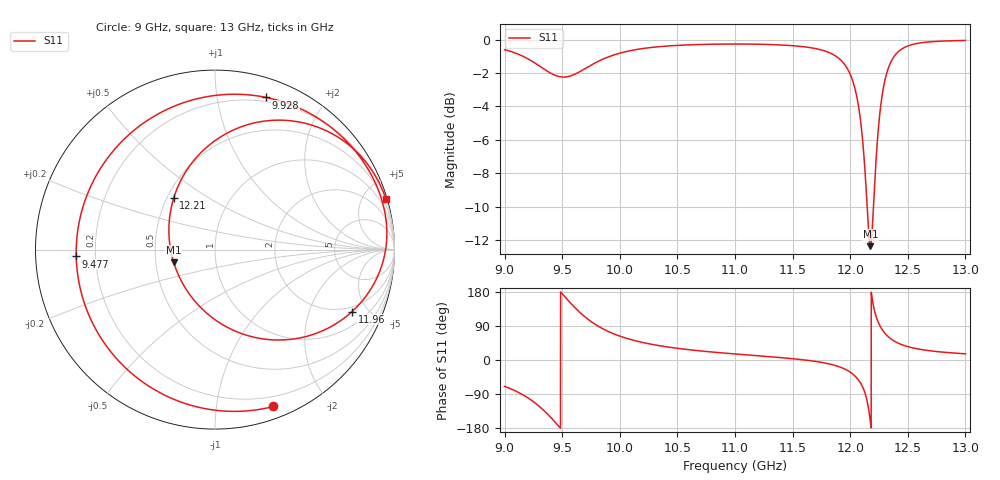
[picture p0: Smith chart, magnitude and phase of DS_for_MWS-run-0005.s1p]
! TOUCHSTONE file generated by CST DESIGN STUDIO
! Date and time: Tue Feb  4 13:41:05 2025
! Project name: C:\Work\MatlabApps\UnitCellOptimizationMatlab\CST\unitcell.cst
! Tree item: Tasks\Sweep1\SPara1\S-Parameters
! Header version: 2024
! Port assignment regex: !\s*Touchstone port\s*([0-9]+)\s*=\s*(CST MWS port|CST DES external port|CST DES block port)\s*(.+)\s* \(\"(.*)\"\)(\s*mode\s*([0-9]+))?.*
! Touchstone port assignment:
! Touchstone port 1 = CST DES external port 1 ("")
# GHz S MA R 50
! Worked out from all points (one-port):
!   4001 points, 9 GHz to 13 GHz, reference 50 ohm
!   lowest |S11| = -12.4 dB at 12.18 GHz (marker M1), VSWR 1.63, Z = 31 - j4.68 ohm
!   |S11| at or under -10 dB: 12.1472 GHz to 12.20193 GHz (54.73 MHz wide, 0.45 % of centre)
!   S11 on the Smith chart (normalised r, x): 9 GHz: 0.11, -1.43; 9.477 GHz: 0.13, -0.02; 9.928 GHz: 0.16, +1.38; 11.96 GHz: 1.70, -3.95; 12.21 GHz: 0.54, +0.36; 13 GHz: 0.16, +6.94
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9  0.9325 -69.6
9.151  0.8938 -90.5
9.263  0.8506 -113.0
9.362  0.8076 -139.5
9.477  0.7742 -177.2
9.5  0.7723 174.8
9.604  0.7859 140.2
9.696  0.8174 114.2
9.798  0.8553 91.9
9.928  0.8943 71.5
10  0.9104 63.0
10.215  0.9414 45.1
10.5  0.9603 30.8
11  0.9695 15.9
11.5  0.9584 3.4
11.796  0.92 -8.9
11.956  0.8381 -24.3
12  0.7871 -32.0
12.053  0.6854 -45.8
12.104  0.5161 -68.7
12.139  0.3542 -98.2
12.175  0.2409 -162.8
12.212  0.368 128.7
12.256  0.5954 91.5
12.303  0.7597 70.0
12.388  0.8965 48.9
12.5  0.9565 35.3
13  0.9936 16.4
